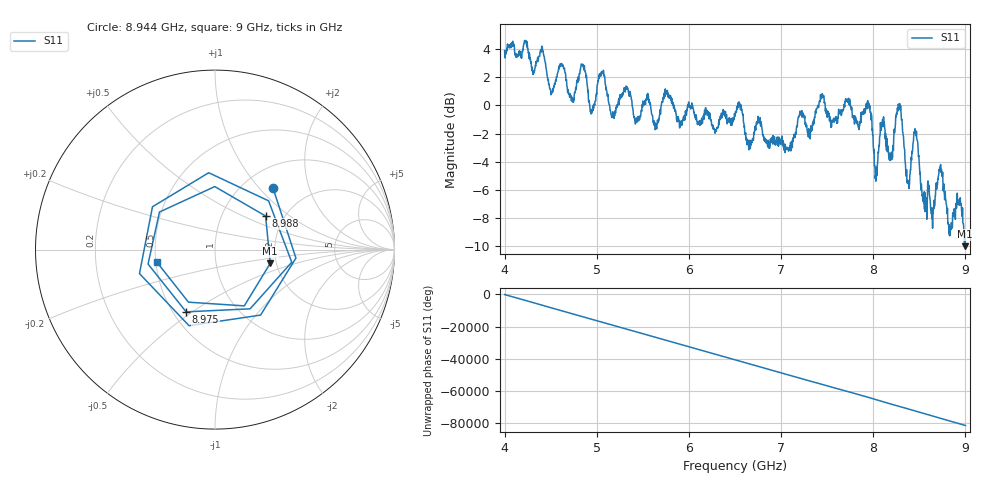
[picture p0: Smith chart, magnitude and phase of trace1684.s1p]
! Created with skrf 1.8.0 (http://scikit-rf.org).
# Hz S RI R 50.0
!freq ReS11 ImS11
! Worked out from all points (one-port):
!   1601 points, 4 GHz to 9 GHz, reference 50 ohm
!   lowest |S11| = -10.0 dB at 8.991 GHz (marker M1), VSWR 1.93, Z = 92.7 - j15.8 ohm
!   |S11| at or under -10 dB: nowhere
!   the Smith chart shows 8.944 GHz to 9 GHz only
!   S11 on the Smith chart (normalised r, x): 8.944 GHz: 1.36, +1.19; 8.975 GHz: 0.58, -0.47; 8.988 GHz: 1.61, +0.68; 9 GHz: 0.51, -0.08
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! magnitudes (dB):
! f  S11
! 4 GHz  3.9
! 4.409 GHz  4.1
! 4.512 GHz  0.9
! 4.625 GHz  2.8
! 4.728 GHz  0.6
! 4.844 GHz  2.8
! 4.941 GHz  -0.3
! 5.053 GHz  2.2
! 5.25 GHz  0.6
! 5.875 GHz  -0.8
! 6.5 GHz  -0.8
! 7.125 GHz  -2.4
! 7.75 GHz  0.2
! 7.959 GHz  -0.2
! 8.031 GHz  -5.1
! 8.097 GHz  -1.2
! 8.194 GHz  -3.6
! 8.284 GHz  0.0
! 8.375 GHz  -5.5
! 8.459 GHz  -1.8
! 8.559 GHz  -6.2
! 8.728 GHz  -4.5
! 8.834 GHz  -9.2
! 8.944 GHz  -6.6
! 8.975 GHz  -8.4
! 8.988 GHz  -9.4
! 8.991 GHz  -10.0
! 9 GHz  -9.6
